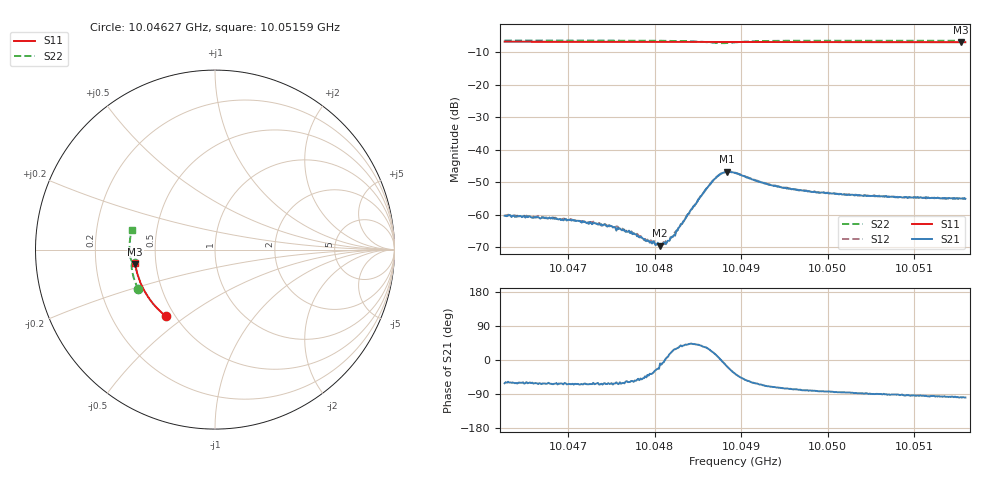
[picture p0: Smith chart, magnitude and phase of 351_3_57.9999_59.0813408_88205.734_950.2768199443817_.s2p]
#  HZ  S  RI  R  50.00
! Rohde & Schwarz Vector Network Analyzer
! Rohde-Schwarz,ZNB20-2Port,1311601062101988,3.16
! Created: UTC 3/21/2024, 1:06:01 AM
! freq[Hz]  re:S11  im:S11  re:S21  im:S21  re:S12  im:S12  re:S22  im:S22
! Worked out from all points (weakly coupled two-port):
!   401 points, 10.04627 GHz to 10.05159 GHz, reference 50 ohm
!   highest |S21| = -46.70 dB at 10.04884 GHz (marker M1); lowest = -69.4 dB at 10.04806 GHz (marker M2)
!   lowest |S11| = -6.9 dB at 10.05154 GHz (marker M3), VSWR 2.65, Z = 19 - j3.86 ohm
!   |S11| at or under -10 dB: nowhere
!   |S22| runs from -7.2 to -6.4 dB; largest |S21 - S12| = 0.00029
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1.0046268e10  -0.2725 -0.3721  0.000465 -0.000851  0.000536 -0.00079  -0.4267 -0.2222
1.00468e10  -0.2996 -0.3493  0.000399 -0.000782  0.000456 -0.000769  -0.4413 -0.1896
1.004716e10  -0.3165 -0.333  0.000341 -0.000681  0.000416 -0.000691  -0.4496 -0.1667
1.0047506e10  -0.3323 -0.3163  0.000322 -0.000592  0.000328 -0.000569  -0.4567 -0.1437
1.0047586e10  -0.3357 -0.3124  0.000268 -0.000543  0.000352 -0.000527  -0.4579 -0.1383
1.0047732e10  -0.342 -0.305  0.000311 -0.000448  0.000347 -0.000438  -0.4604 -0.128
1.0047918e10  -0.3495 -0.2954  0.00031 -0.000254  0.000317 -0.000269  -0.4628 -0.1144
1.0048051e10  -0.3551 -0.2885  0.000313 -0.000134  0.000327 -8.81e-05  -0.4641 -0.1043
1.0048065e10  -0.3556 -0.2878  0.000334 -5.31e-05  0.000327 -4.85e-05  -0.464 -0.1032
1.0048118e10  -0.3578 -0.285  0.000377 -8.17e-06  0.000356 2.37e-05  -0.4645 -0.099
1.0048185e10  -0.3602 -0.2815  0.000413 0.000137  0.000421 0.00017  -0.4647 -0.0934
1.0048211e10  -0.3614 -0.28  0.000421 0.00019  0.0004 0.000229  -0.4646 -0.0915
1.0048437e10  -0.3699 -0.2678  0.000935 0.000853  0.000883 0.000915  -0.4613 -0.0711
1.0048677e10  -0.3784 -0.2546  0.00317 0.00117  0.00311 0.00136  -0.4413 -0.0559
1.004877e10  -0.3815 -0.2495  0.00429 -3.12e-05  0.00434 0.000234  -0.4329 -0.063
1.0048837e10  -0.3837 -0.2459  0.00443 -0.00135  0.00452 -0.0011  -0.4341 -0.0714
1.004893e10  -0.3869 -0.2409  0.00356 -0.0026  0.00375 -0.00242  -0.4444 -0.0764
1.0049343e10  -0.4 -0.2171  0.000964 -0.00271  0.00114 -0.0027  -0.4712 -0.0469
1.0049822e10  -0.4134 -0.1886  0.000363 -0.00223  0.000497 -0.00224  -0.4763 -0.0101
1.0050714e10  -0.433 -0.1334  -3.76e-05 -0.00189  8.08e-05 -0.00191  -0.4739 0.0516
1.0051539e10  -0.4446 -0.0808  -0.000248 -0.00176  -0.000172 -0.00178  -0.4644 0.106
1.0051592e10  -0.4453 -0.0773  -0.000278 -0.00175  -0.000172 -0.00176  -0.4635 0.1094
